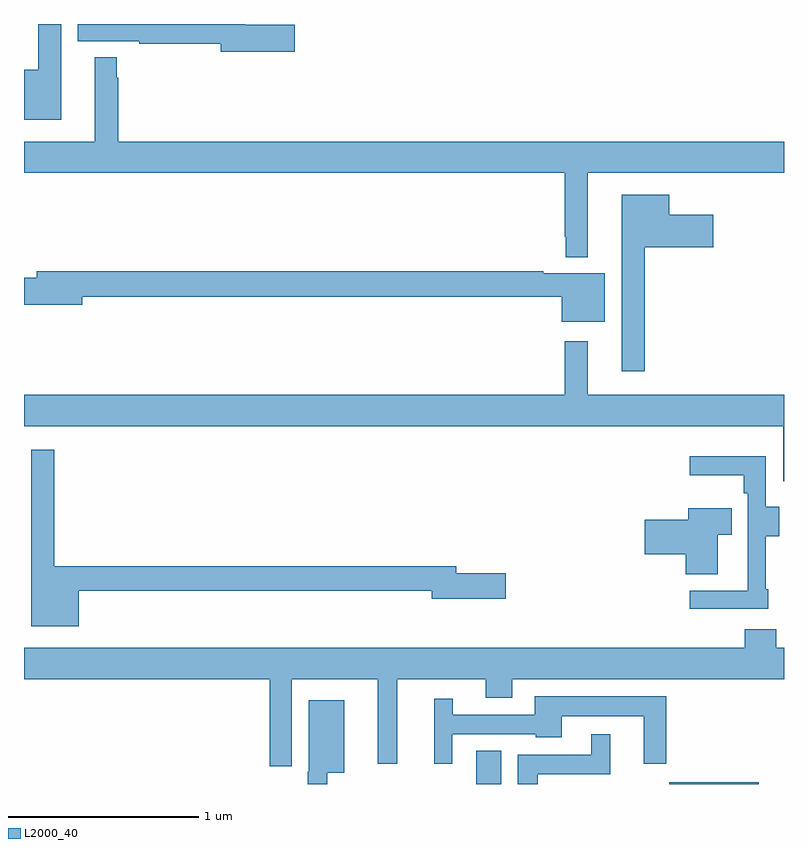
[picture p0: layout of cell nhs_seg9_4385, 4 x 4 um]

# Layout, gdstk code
import gdstk
lib = gdstk.Library(unit=1e-6, precision=1e-09)
def R(c, l, rs):  # rectangles x0, y0, x1, y1
    for r in rs: c.add(gdstk.rectangle(r[:2], r[2:], *l))
def P(c, l, *ps):  # polygons
    for p in ps: c.add(gdstk.Polygon(p, *l))
L2000_40 = (2000, 40)

nhs_seg9_4385 = lib.new_cell('nhs_seg9_4385')
R(nhs_seg9_4385, L2000_40, [(363.38,1230.5,363.511,1230.676), (364.395,1230.5,364.867,1230.509)])
P(nhs_seg9_4385, L2000_40, [(362.425,1234.496),(362.164,1234.496),(362.164,1234.5),(361.283,1234.5),(361.283,1234.409),(361.606,1234.409),(361.606,1234.396),(362.036,1234.396),(362.036,1234.354),(362.425,1234.354)],
  [(361.195,1234.5),(361.074,1234.5),(361.074,1234.258),(361,1234.258),(361,1233.995),(361.195,1233.995)],
  [(363.967,1233.716),(365,1233.716),(365,1233.88),(361.495,1233.88),(361.495,1234.217),(361.488,1234.217),(361.488,1234.324),(361.373,1234.324),(361.373,1233.88),(361,1233.88),(361,1233.716),(363.846,1233.716),(363.846,1233.379),(363.852,1233.379),(363.852,1233.272),(363.967,1233.272)],
  [(364.267,1233.326),(364.627,1233.326),(364.627,1233.496),(364.396,1233.496),(364.396,1233.601),(364.145,1233.601),(364.145,1232.673),(364.267,1232.673)],
  [(364.057,1233.187),(363.734,1233.187),(363.734,1233.2),(361.067,1233.2),(361.067,1233.164),(361,1233.164),(361,1233.022),(361.306,1233.022),(361.306,1233.064),(363.83,1233.064),(363.83,1232.933),(364.057,1232.933)],
  [(365,1232.548),(363.967,1232.548),(363.967,1232.83),(363.846,1232.83),(363.846,1232.548),(361,1232.548),(361,1232.384),(364.995,1232.384),(364.995,1232.094),(365,1232.094)],
  [(361.288,1231.518),(363.146,1231.518),(363.146,1231.475),(363.535,1231.475),(363.535,1231.61),(363.274,1231.61),(363.274,1231.646),(361.159,1231.646),(361.159,1232.26),(361.037,1232.26),(361.037,1231.331),(361.288,1231.331)],
  [(364.918,1231.525),(364.905,1231.525),(364.905,1231.804),(364.975,1231.804),(364.975,1231.959),(364.905,1231.959),(364.905,1232.224),(364.503,1232.224),(364.503,1232.126),(364.789,1232.126),(364.789,1232.03),(364.809,1232.03),(364.809,1231.715),(364.808,1231.715),(364.808,1231.518),(364.503,1231.518),(364.503,1231.422),(364.918,1231.422)],
  [(364.651,1231.811),(364.724,1231.811),(364.724,1231.951),(364.496,1231.951),(364.496,1231.892),(364.266,1231.892),(364.266,1231.709),(364.484,1231.709),(364.484,1231.603),(364.651,1231.603)],
  [(362.408,1230.706),(362.409,1230.706),(362.409,1231.052),(362.861,1231.052),(362.861,1230.606),(362.965,1230.606),(362.965,1231.052),(363.431,1231.052),(363.431,1230.953),(363.571,1230.953),(363.571,1231.052),(365,1231.052),(365,1231.216),(364.958,1231.216),(364.958,1231.315),(364.793,1231.315),(364.793,1231.216),(361,1231.216),(361,1231.052),(362.293,1231.052),(362.293,1230.594),(362.408,1230.594)],
  [(363.255,1230.761),(363.693,1230.761),(363.693,1230.746),(363.829,1230.746),(363.829,1230.857),(364.262,1230.857),(364.262,1230.606),(364.379,1230.606),(364.379,1230.961),(363.689,1230.961),(363.689,1230.865),(363.256,1230.865),(363.256,1230.949),(363.158,1230.949),(363.158,1230.606),(363.255,1230.606)],
  [(362.595,1230.56),(362.686,1230.56),(362.686,1230.94),(362.498,1230.94),(362.498,1230.564),(362.494,1230.564),(362.494,1230.5),(362.595,1230.5)],
  [(363.703,1230.551),(364.085,1230.551),(364.085,1230.763),(363.986,1230.763),(363.986,1230.655),(363.599,1230.655),(363.599,1230.5),(363.703,1230.5)])

lib.write_gds('nhs_seg9_4385.gds')
